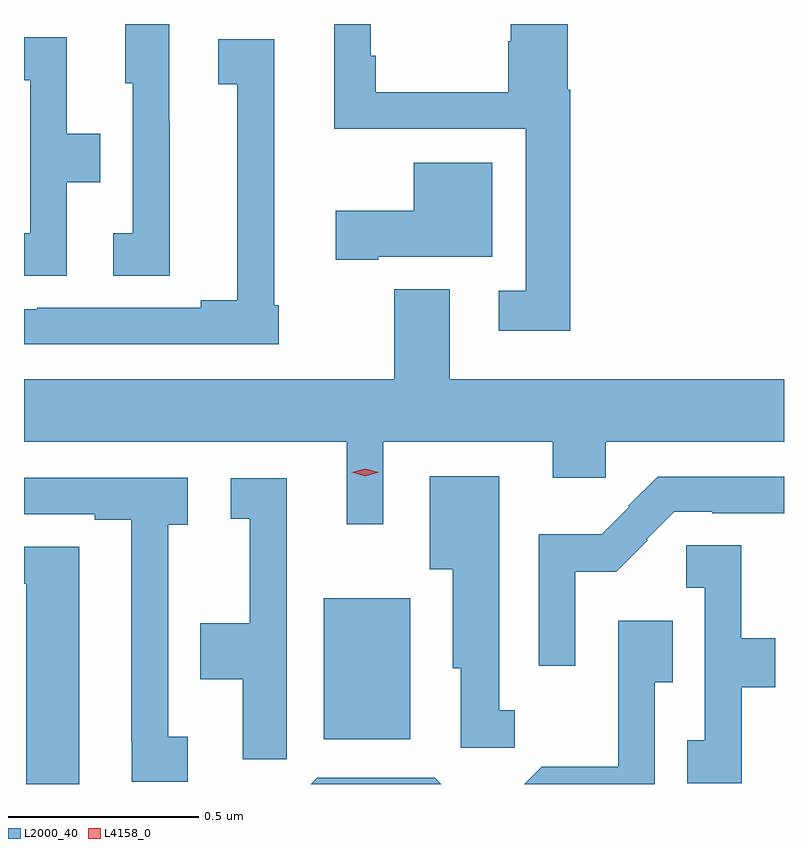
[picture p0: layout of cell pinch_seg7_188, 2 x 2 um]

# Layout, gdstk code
import gdstk
lib = gdstk.Library(unit=1e-6, precision=1e-09)
def R(c, l, rs):  # rectangles x0, y0, x1, y1
    for r in rs: c.add(gdstk.rectangle(r[:2], r[2:], *l))
def P(c, l, *ps):  # polygons
    for p in ps: c.add(gdstk.Polygon(p, *l))
L2000_40 = (2000, 40)
L4158_0 = (4158, 0)

pinch_seg7_188 = lib.new_cell('pinch_seg7_188')
R(pinch_seg7_188, L2000_40, [(1121.459,1034.465,1121.686,1034.836)])
P(pinch_seg7_188, L2000_40, [(1122.107,1036.174),(1122.101,1036.174),(1122.101,1036.347),(1121.951,1036.347),(1121.951,1036.302),(1121.944,1036.302),(1121.944,1036.168),(1121.596,1036.168),(1121.596,1036.264),(1121.583,1036.264),(1121.583,1036.347),(1121.486,1036.347),(1121.486,1036.071),(1121.991,1036.071),(1121.991,1035.645),(1121.919,1035.645),(1121.919,1035.54),(1122.107,1035.54)],
  [(1121.054,1036.091),(1121.052,1036.091),(1121.052,1036.347),(1120.937,1036.347),(1120.937,1036.191),(1120.956,1036.191),(1120.956,1035.796),(1120.905,1035.796),(1120.905,1035.685),(1121.054,1035.685)],
  [(1120.782,1035.93),(1120.871,1035.93),(1120.871,1036.058),(1120.783,1036.058),(1120.783,1036.312),(1120.67,1036.312),(1120.67,1036.199),(1120.686,1036.199),(1120.686,1035.796),(1120.67,1035.796),(1120.67,1035.685),(1120.782,1035.685)],
  [(1121.341,1035.607),(1121.329,1035.607),(1121.329,1036.307),(1121.181,1036.307),(1121.181,1036.189),(1121.231,1036.189),(1121.231,1035.62),(1121.135,1035.62),(1121.135,1035.6),(1120.705,1035.6),(1120.705,1035.597),(1120.67,1035.597),(1120.67,1035.504),(1121.341,1035.504)],
  [(1121.602,1035.734),(1121.902,1035.734),(1121.902,1035.982),(1121.696,1035.982),(1121.696,1035.856),(1121.49,1035.856),(1121.49,1035.727),(1121.602,1035.727)],
  [(1121.616,1035.248),(1122.062,1035.248),(1122.062,1035.153),(1122.201,1035.153),(1122.201,1035.248),(1122.67,1035.248),(1122.67,1035.412),(1121.791,1035.412),(1121.791,1035.649),(1121.644,1035.649),(1121.644,1035.412),(1120.67,1035.412),(1120.67,1035.248),(1121.519,1035.248),(1121.519,1035.03),(1121.616,1035.03)],
  [(1121.961,1034.541),(1121.92,1034.541),(1121.92,1035.157),(1121.738,1035.157),(1121.738,1034.912),(1121.798,1034.912),(1121.798,1034.652),(1121.819,1034.652),(1121.819,1034.442),(1121.961,1034.442)],
  [(1122.12,1034.906),(1122.229,1034.906),(1122.312,1034.988),(1122.309,1034.991),(1122.381,1035.063),(1122.481,1035.063),(1122.481,1035.06),(1122.67,1035.06),(1122.67,1035.156),(1122.338,1035.156),(1122.26,1035.079),(1122.263,1035.077),(1122.19,1035.004),(1122.024,1035.004),(1122.024,1034.658),(1122.12,1034.658)],
  [(1121.101,1034.472),(1121.049,1034.472),(1121.049,1035.029),(1121.101,1035.029),(1121.101,1035.153),(1120.67,1035.153),(1120.67,1035.057),(1120.856,1035.057),(1120.856,1035.042),(1120.952,1035.042),(1120.952,1034.461),(1120.953,1034.461),(1120.953,1034.353),(1121.101,1034.353)],
  [(1121.362,1035.151),(1121.214,1035.151),(1121.214,1035.045),(1121.264,1035.045),(1121.264,1034.77),(1121.134,1034.77),(1121.134,1034.623),(1121.246,1034.623),(1121.246,1034.412),(1121.362,1034.412)],
  [(1122.559,1034.602),(1122.647,1034.602),(1122.647,1034.731),(1122.558,1034.731),(1122.558,1034.975),(1122.413,1034.975),(1122.413,1034.864),(1122.462,1034.864),(1122.462,1034.462),(1122.415,1034.462),(1122.415,1034.349),(1122.559,1034.349)],
  [(1120.816,1034.864),(1120.815,1034.864),(1120.815,1034.972),(1120.67,1034.972),(1120.67,1034.874),(1120.676,1034.874),(1120.676,1034.347),(1120.816,1034.347)],
  [(1122.33,1034.615),(1122.377,1034.615),(1122.377,1034.776),(1122.234,1034.776),(1122.234,1034.393),(1122.032,1034.393),(1121.986,1034.347),(1122.33,1034.347)],
  [(1121.751,1034.364),(1121.442,1034.364),(1121.425,1034.347),(1121.768,1034.347)])
P(pinch_seg7_188, L4158_0, [(1121.568,1035.157),(1121.533,1035.167),(1121.532,1035.167),(1121.533,1035.167),(1121.568,1035.177),(1121.603,1035.167),(1121.603,1035.167),(1121.603,1035.167)])

lib.write_gds('pinch_seg7_188.gds')
